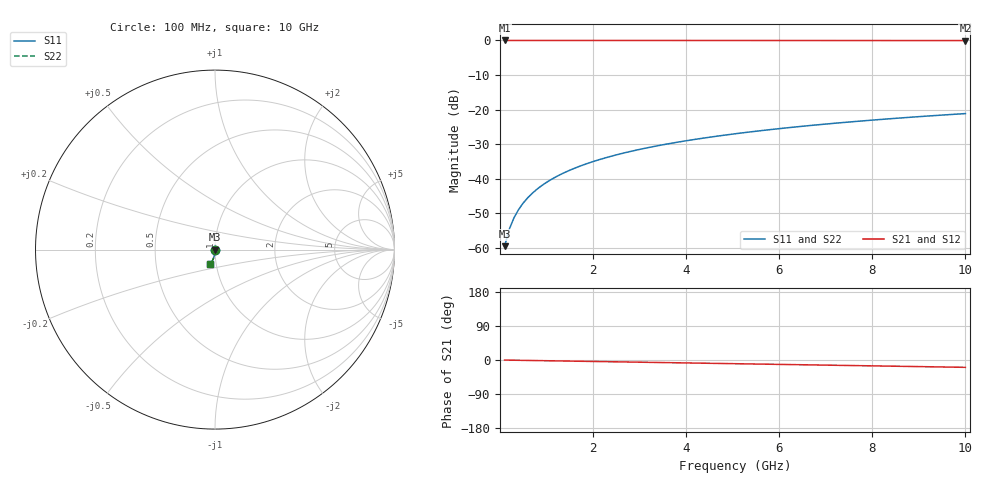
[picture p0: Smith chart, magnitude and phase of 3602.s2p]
# Hz S RI R 50.00
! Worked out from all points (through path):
!   100 points, 100 MHz to 10 GHz, reference 50 ohm
!   highest |S21| = -0.01 dB at 100 MHz (marker M1); lowest = 0.0 dB at 10 GHz (marker M2)
!   group delay of S21, straight-line fit = 5.38 ps
!   lowest |S11| = -59.5 dB at 100 MHz (marker M3), VSWR 1.00, Z = 50.1 - j0.0889 ohm
!   |S11| at or under -10 dB: start of sweep to end of sweep
!   |S22| runs from -59.5 to -21.1 dB; largest |S21 - S12| = 0
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1e8  0.000585 -0.000888  0.9994 -0.00336  0.9994 -0.00336  0.000585 -0.000888
2e8  0.000578 -0.00178  0.9994 -0.00672  0.9994 -0.00672  0.000578 -0.00178
3e8  0.000564 -0.00267  0.9993 -0.0101  0.9993 -0.0101  0.000564 -0.00267
4e8  0.000543 -0.00355  0.9993 -0.0134  0.9993 -0.0134  0.000543 -0.00355
5e8  0.000517 -0.00444  0.9992 -0.0168  0.9992 -0.0168  0.000517 -0.00444
6e8  0.000484 -0.00533  0.9992 -0.0202  0.9992 -0.0202  0.000484 -0.00533
7e8  0.000445 -0.00622  0.9991 -0.0235  0.9991 -0.0235  0.000445 -0.00622
8e8  0.000399 -0.00711  0.999 -0.0269  0.999 -0.0269  0.000399 -0.00711
9e8  0.000348 -0.00799  0.9989 -0.0302  0.9989 -0.0302  0.000348 -0.00799
1.1e9  0.000227 -0.00977  0.9986 -0.0369  0.9986 -0.0369  0.000227 -0.00977
1.4e9  1.12e-06 -0.0124  0.9982 -0.047  0.9982 -0.047  1.12e-06 -0.0124
1.8e9  -0.000385 -0.016  0.9974 -0.0604  0.9974 -0.0604  -0.000385 -0.016
2.1e9  -0.000737 -0.0186  0.9967 -0.0705  0.9967 -0.0705  -0.000737 -0.0186
2.5e9  -0.00129 -0.0221  0.9955 -0.0839  0.9955 -0.0839  -0.00129 -0.0221
2.9e9  -0.00194 -0.0257  0.9942 -0.0973  0.9942 -0.0973  -0.00194 -0.0257
3.4e9  -0.00288 -0.03  0.9923 -0.114  0.9923 -0.114  -0.00288 -0.03
4.2e9  -0.0047 -0.0369  0.9886 -0.1408  0.9886 -0.1408  -0.0047 -0.0369
5.1e9  -0.00719 -0.0446  0.9835 -0.1707  0.9835 -0.1707  -0.00719 -0.0446
5.9e9  -0.0098 -0.0513  0.9782 -0.1971  0.9782 -0.1971  -0.0098 -0.0513
6.7e9  -0.0128 -0.0579  0.9721 -0.2235  0.9721 -0.2235  -0.0128 -0.0579
8.4e9  -0.0202 -0.0712  0.9566 -0.2788  0.9566 -0.2788  -0.0202 -0.0712
1e10  -0.0286 -0.0829  0.939 -0.3299  0.939 -0.3299  -0.0286 -0.0829
